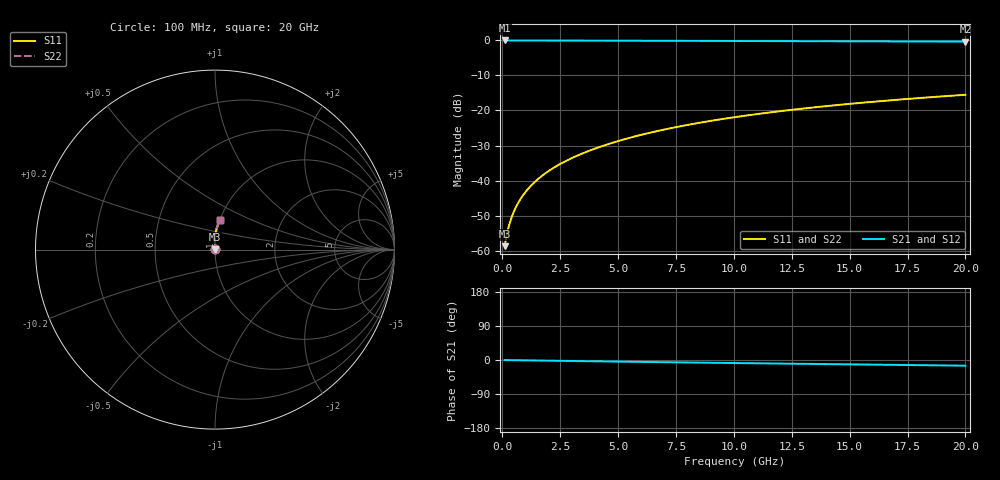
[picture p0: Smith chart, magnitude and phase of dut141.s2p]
! Touchstone file exported from HFSS 2024.1.0
!  File:  C:/UserFiles/LocalFiles/RDL_TSV_Batchsim/temp_RDL_top_141_1778684763.aedt
!  Generated:  11:08:16 PM May 13, 2026
!  Design:  RDL_top
!  Project:  temp_RDL_top_141_1778684763
!  Setup:  Setup1
!  Solution:  Sweep
! Variables:
!  dtsv = 10.80580581um
!  hbump = 3um
!  htsv = 51.04um
!  ldown = 100um
!  lrdl = 176.07um
!  p = 40
!  p1 = 57.2um
!  rhole = 1um
!  t = 450um
!  tdown = 3.915915916um
!  trdl = 3.55um
!  wdown = 15.38538539um
!  wrdl = 27.23um
# GHz S MA R 50.000000
! Terminal data exported
! Port[1] = Box2_T1
! Port[2] = Box2_T2
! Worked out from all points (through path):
!   200 points, 100 MHz to 20 GHz, reference 50 ohm
!   highest |S21| = -0.01 dB at 100 MHz (marker M1); lowest = -0.3 dB at 20 GHz (marker M2)
!   group delay of S21, straight-line fit = 2.05 ps
!   lowest |S11| = -58.7 dB at 100 MHz (marker M3), VSWR 1.00, Z = 50.1 + j0.0742 ohm
!   |S11| at or under -10 dB: start of sweep to end of sweep
!   |S22| runs from -58.7 to -15.5 dB; largest |S21 - S12| = 4.4e-15
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0.1  0.001157 39.8  0.9991 -0.1  0.9991 -0.1  0.001157 39.8
! Gamma 0 0 0 0
! Port Impedance 50 0 50 0
0.2  0.001724 57.3  0.999 -0.2  0.999 -0.2  0.001724 57.3
0.3  0.002341 65.5  0.999 -0.3  0.999 -0.3  0.002341 65.5
0.4  0.002968 70.4  0.9989 -0.4  0.9989 -0.4  0.002968 70.4
0.5  0.003601 73.8  0.9988 -0.5  0.9988 -0.5  0.003601 73.8
0.6  0.004239 76.4  0.9988 -0.5  0.9988 -0.5  0.004239 76.4
0.8  0.005534 79.9  0.9987 -0.7  0.9987 -0.7  0.005534 79.9
1.1  0.007513 83.2  0.9984 -1.0  0.9984 -1.0  0.007513 83.2
1.5  0.01021 85.9  0.9981 -1.3  0.9981 -1.3  0.01021 85.9
1.8  0.01227 87.3  0.9977 -1.6  0.9977 -1.6  0.01227 87.3
2.1  0.01437 88.4  0.9973 -1.9  0.9973 -1.9  0.01437 88.4
2.7  0.01868 90.0  0.9964 -2.4  0.9964 -2.4  0.01868 90.0
3.5  0.02467 91.3  0.9949 -3.0  0.9949 -3.0  0.02467 91.3
4.2  0.03012 91.9  0.9935 -3.6  0.9935 -3.6  0.03012 91.9
5  0.03657 92.2  0.9917 -4.3  0.9917 -4.3  0.03658 92.2
5.9  0.04407 92.2  0.9897 -5.0  0.9897 -5.0  0.04408 92.2
6.8  0.05177 91.9  0.9877 -5.7  0.9877 -5.7  0.05177 91.9
8.4  0.06577 90.9  0.9842 -6.8  0.9842 -6.8  0.06578 90.9
10.1  0.08087 89.5  0.9807 -8.1  0.9807 -8.1  0.08088 89.5
13.4  0.1102 86.5  0.9742 -10.4  0.9742 -10.4  0.1103 86.5
16.7  0.1392 83.4  0.968 -12.7  0.968 -12.7  0.1392 83.4
20  0.1676 80.5  0.9617 -15.0  0.9617 -15.0  0.1676 80.5
